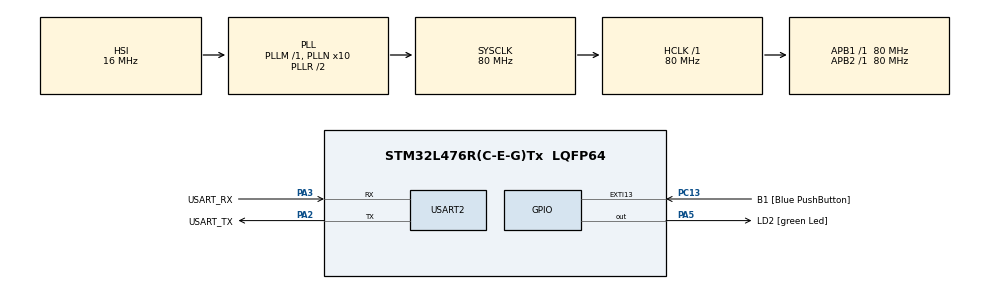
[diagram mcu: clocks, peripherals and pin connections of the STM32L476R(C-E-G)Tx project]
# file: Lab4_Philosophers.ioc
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FREERTOS.BinarySemaphores01=uartPrintSemaphore,Dynamic,NULL,Available;forkSemaphore,Dynamic,NULL,Available
FREERTOS.Tasks01=defaultTask,24,128,StartDefaultTask,Default,NULL,Dynamic,NULL,NULL;printUartTask,8,128,StartTask02,Default,NULL,Dynamic,NULL,NULL;philosopherTask,8,128,StartTask03,Default,NULL,Dynamic,NULL,NULL
FREERTOS.configTOTAL_HEAP_SIZE=65536
FREERTOS.configUSE_NEWLIB_REENTRANT=1
IWDG.Prescaler=IWDG_PRESCALER_64
IWDG.Reload=999
Mcu.Family=STM32L4
Mcu.Name=STM32L476R(C-E-G)Tx
Mcu.Package=LQFP64
NVIC.PriorityGroup=NVIC_PRIORITYGROUP_4
PA13\ (JTMS-SWDIO).GPIO_Label=TMS
PA13\ (JTMS-SWDIO).Mode=Serial_Wire
PA13\ (JTMS-SWDIO).Signal=SYS_JTMS-SWDIO
PA14\ (JTCK-SWCLK).GPIO_Label=TCK
PA14\ (JTCK-SWCLK).Mode=Serial_Wire
PA14\ (JTCK-SWCLK).Signal=SYS_JTCK-SWCLK
PA2.GPIO_Label=USART_TX
PA2.GPIO_Mode=GPIO_MODE_AF_PP
PA2.GPIO_PuPd=GPIO_NOPULL
PA2.GPIO_Speed=GPIO_SPEED_FREQ_VERY_HIGH
PA2.Mode=Asynchronous
PA2.Signal=USART2_TX
PA3.GPIO_Label=USART_RX
PA3.GPIO_Mode=GPIO_MODE_AF_PP
PA3.GPIO_PuPd=GPIO_NOPULL
PA3.GPIO_Speed=GPIO_SPEED_FREQ_VERY_HIGH
PA3.Mode=Asynchronous
PA3.Signal=USART2_RX
PA5.GPIO_Label=LD2 [green Led]
PA5.GPIO_ModeDefaultOutputPP=GPIO_MODE_OUTPUT_PP
PA5.GPIO_PuPd=GPIO_NOPULL
PA5.GPIO_Speed=GPIO_SPEED_FREQ_LOW
PA5.Signal=GPIO_Output
PB3\ (JTDO-TRACESWO).GPIO_Label=SWO
PB3\ (JTDO-TRACESWO).Signal=SYS_JTDO-SWO
PC13.GPIO_Label=B1 [Blue PushButton]
PC13.GPIO_ModeDefaultEXTI=GPIO_MODE_IT_FALLING
PC13.GPIO_PuPd=GPIO_NOPULL
PC13.Signal=GPXTI13
PC14-OSC32_IN\ (PC14).Mode=LSE-External-Oscillator
PC14-OSC32_IN\ (PC14).Signal=RCC_OSC32_IN
PC15-OSC32_OUT\ (PC15).Mode=LSE-External-Oscillator
PC15-OSC32_OUT\ (PC15).Signal=RCC_OSC32_OUT
PH0-OSC_IN\ (PH0).Signal=RCC_OSC_IN
PH1-OSC_OUT\ (PH1).Signal=RCC_OSC_OUT
ProjectManager.HeapSize=0x200
ProjectManager.StackSize=0x2000
ProjectManager.TargetToolchain=STM32CubeIDE
RCC.ADCFreq_Value=64000000
RCC.AHBFreq_Value=80000000
RCC.APB1Freq_Value=80000000
RCC.APB1TimFreq_Value=80000000
RCC.APB2Freq_Value=80000000
RCC.APB2TimFreq_Value=80000000
RCC.CortexFreq_Value=80000000
RCC.HCLKFreq_Value=80000000
RCC.HSE_VALUE=8000000
RCC.HSI_VALUE=16000000
RCC.MSI_VALUE=4000000
RCC.PLLN=10
RCC.PLLSourceVirtual=RCC_PLLSOURCE_HSI
RCC.PREFETCH_ENABLE=1
RCC.SYSCLKFreq_VALUE=80000000
RCC.SYSCLKSource=RCC_SYSCLKSOURCE_PLLCLK
RCC.USBFreq_Value=64000000
RCC.VCOOutputFreq_Value=160000000
USART2.VirtualMode-Asynchronous=VM_ASYNC
VP_FREERTOS_VS_CMSIS_V2.Mode=CMSIS_V2
VP_IWDG_VS_IWDG.Mode=IWDG_Activate
board=NUCLEO-L476RG

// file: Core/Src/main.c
/* USER CODE BEGIN Header */
/**
  ******************************************************************************
  * @file           : main.c
  * @brief          : Main program body
  ******************************************************************************
  * @attention
  *
  * Copyright (c) 2026 STMicroelectronics.
  * All rights reserved.
  *
  * This software is licensed under terms that can be found in the LICENSE file
  * in the root directory of this software component.
  * If no LICENSE file comes with this software, it is provided AS-IS.
  *
  ******************************************************************************
  */
/* USER CODE END Header */
#include "main.h"
#include "cmsis_os.h"

IWDG_HandleTypeDef hiwdg;

UART_HandleTypeDef huart2;

/* Definitions for defaultTask */

void SystemClock_Config(void);
static void MX_GPIO_Init(void);
static void MX_USART2_UART_Init(void);
static void MX_IWDG_Init(void);

/* USER CODE BEGIN PFP */
void App_RTOS_Init(void);
/* USER CODE END PFP */

/* USER CODE BEGIN 0 */
const char uartMsg[] = "Jeff Taylor - Lab 8\r\n CPET 461 - Philosophers with Watchdog\r\n";
/* USER CODE END 0 */

int main(void)
{

  /* MCU Configuration--------------------------------------------------------*/

  /* Reset of all peripherals, Initializes the Flash interface and the Systick. */
  HAL_Init();

  /* Configure the system clock */
  SystemClock_Config();

  /* Initialize all configured peripherals */
  MX_GPIO_Init();
  MX_USART2_UART_Init();
  MX_IWDG_Init();
  /* USER CODE BEGIN 2 */
  HAL_UART_Transmit(&huart2, (uint8_t*)uartMsg, sizeof(uartMsg) - 1, HAL_MAX_DELAY); // print UART message BEFORE rtos starts
  /* USER CODE END 2 */

  /* Init scheduler */
  osKernelInitialize();

  /* Create the semaphores(s) */
  /* creation of uartPrintSemaphore */

  /* creation of forkSemaphore */

  /* USER CODE BEGIN RTOS_EVENTS */
  /* add events, ... */
  App_RTOS_Init();
  /* USER CODE END RTOS_EVENTS */

  /* Start scheduler */
  osKernelStart();

  /* We should never get here as control is now taken by the scheduler */

  /* Infinite loop */
  while (1)
  {

  }
}

void SystemClock_Config(void)
{
  RCC_OscInitTypeDef RCC_OscInitStruct = {0};
  RCC_ClkInitTypeDef RCC_ClkInitStruct = {0};

  /** Configure the main internal regulator output voltage
  */
  if (HAL_PWREx_ControlVoltageScaling(PWR_REGULATOR_VOLTAGE_SCALE1) != HAL_OK)
  {
    Error_Handler();
  }

  /** Initializes the RCC Oscillators according to the specified parameters
  * in the RCC_OscInitTypeDef structure.
  */
  RCC_OscInitStruct.OscillatorType = RCC_OSCILLATORTYPE_HSI|RCC_OSCILLATORTYPE_LSI;
  RCC_OscInitStruct.HSIState = RCC_HSI_ON;
  RCC_OscInitStruct.HSICalibrationValue = RCC_HSICALIBRATION_DEFAULT;
  RCC_OscInitStruct.LSIState = RCC_LSI_ON;
  RCC_OscInitStruct.PLL.PLLState = RCC_PLL_ON;
  RCC_OscInitStruct.PLL.PLLSource = RCC_PLLSOURCE_HSI;
  RCC_OscInitStruct.PLL.PLLM = 1;
  RCC_OscInitStruct.PLL.PLLN = 10;
  RCC_OscInitStruct.PLL.PLLP = RCC_PLLP_DIV7;
  RCC_OscInitStruct.PLL.PLLQ = RCC_PLLQ_DIV2;
  RCC_OscInitStruct.PLL.PLLR = RCC_PLLR_DIV2;
  if (HAL_RCC_OscConfig(&RCC_OscInitStruct) != HAL_OK)
  {
    Error_Handler();
  }

  /** Initializes the CPU, AHB and APB buses clocks
  */
  RCC_ClkInitStruct.ClockType = RCC_CLOCKTYPE_HCLK|RCC_CLOCKTYPE_SYSCLK
                              |RCC_CLOCKTYPE_PCLK1|RCC_CLOCKTYPE_PCLK2;
  RCC_ClkInitStruct.SYSCLKSource = RCC_SYSCLKSOURCE_PLLCLK;
  RCC_ClkInitStruct.AHBCLKDivider = RCC_SYSCLK_DIV1;
  RCC_ClkInitStruct.APB1CLKDivider = RCC_HCLK_DIV1;
  RCC_ClkInitStruct.APB2CLKDivider = RCC_HCLK_DIV1;

  if (HAL_RCC_ClockConfig(&RCC_ClkInitStruct, FLASH_LATENCY_4) != HAL_OK)
  {
    Error_Handler();
  }
}

static void MX_IWDG_Init(void)
{

  hiwdg.Instance = IWDG;
  hiwdg.Init.Prescaler = IWDG_PRESCALER_64;
  hiwdg.Init.Window = 4095;
  hiwdg.Init.Reload = 999;
  if (HAL_IWDG_Init(&hiwdg) != HAL_OK)
  {
    Error_Handler();
  }

}

static void MX_USART2_UART_Init(void)
{

  huart2.Instance = USART2;
  huart2.Init.BaudRate = 115200;
  huart2.Init.WordLength = UART_WORDLENGTH_8B;
  huart2.Init.StopBits = UART_STOPBITS_1;
  huart2.Init.Parity = UART_PARITY_NONE;
  huart2.Init.Mode = UART_MODE_TX_RX;
  huart2.Init.HwFlowCtl = UART_HWCONTROL_NONE;
  huart2.Init.OverSampling = UART_OVERSAMPLING_16;
  huart2.Init.OneBitSampling = UART_ONE_BIT_SAMPLE_DISABLE;
  huart2.AdvancedInit.AdvFeatureInit = UART_ADVFEATURE_NO_INIT;
  if (HAL_UART_Init(&huart2) != HAL_OK)
  {
    Error_Handler();
  }

}

static void MX_GPIO_Init(void)
{
  GPIO_InitTypeDef GPIO_InitStruct = {0};

  /* GPIO Ports Clock Enable */
  __HAL_RCC_GPIOC_CLK_ENABLE();
  __HAL_RCC_GPIOH_CLK_ENABLE();
  __HAL_RCC_GPIOA_CLK_ENABLE();
  __HAL_RCC_GPIOB_CLK_ENABLE();

  /*Configure GPIO pin Output Level */
  HAL_GPIO_WritePin(LD2_GPIO_Port, LD2_Pin, GPIO_PIN_RESET);

  /*Configure GPIO pin : B1_Pin */
  GPIO_InitStruct.Pin = B1_Pin;
  GPIO_InitStruct.Mode = GPIO_MODE_IT_FALLING;
  GPIO_InitStruct.Pull = GPIO_NOPULL;
  HAL_GPIO_Init(B1_GPIO_Port, &GPIO_InitStruct);

  /*Configure GPIO pin : LD2_Pin */
  GPIO_InitStruct.Pin = LD2_Pin;
  GPIO_InitStruct.Mode = GPIO_MODE_OUTPUT_PP;
  GPIO_InitStruct.Pull = GPIO_NOPULL;
  GPIO_InitStruct.Speed = GPIO_SPEED_FREQ_LOW;
  HAL_GPIO_Init(LD2_GPIO_Port, &GPIO_InitStruct);

}

void StartDefaultTask(void *argument)
{
  for(;;)
  {
    osDelay(1);
  }
}

void StartTask02(void *argument)
{
  for(;;)
  {
    osDelay(1);
  }
}

void StartTask03(void *argument)
{
  for(;;)
  {
    osDelay(1);
  }
}

void Error_Handler(void)
{
  __disable_irq();
  while (1)
  {
  }
}

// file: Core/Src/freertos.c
/* USER CODE BEGIN Header */
/**
  ******************************************************************************
  * File Name          : freertos.c
  * Description        : Code for freertos applications
  ******************************************************************************
  * @attention
  *
  * Copyright (c) 2026 STMicroelectronics.
  * All rights reserved.
  *
  * This software is licensed under terms that can be found in the LICENSE file
  * in the root directory of this software component.
  * If no LICENSE file comes with this software, it is provided AS-IS.
  *
  ******************************************************************************
  */
/* USER CODE END Header */

#include "FreeRTOS.h"
#include "task.h"
#include "main.h"

/* USER CODE BEGIN Includes */
#include "cmsis_os.h"
#include "print.h"
#include <stdlib.h>
#include <stdbool.h>
/* USER CODE END Includes */

/* USER CODE BEGIN PD */
#define NumPHIL 8
#define ALL_ALIVE 0xFF
const osThreadAttr_t defaultAttr = {
    .name       = "defaultTask",
    .stack_size = 1024 * 4,    // bytes (2 KB)
    .priority   = osPriorityNormal
};
const osThreadAttr_t philAttr = {
    .name       = "Philosopher",
    .stack_size = 1024 * 4,   // bytes (4 KB)
    .priority   = osPriorityLow
};
osSemaphoreId_t forkSemaphoreHandle[NumPHIL];
const osSemaphoreAttr_t forkSemaphore_attributes = {
		.name = "forkSemaphore"
};
const osThreadAttr_t watchdogAttr = {
    .name = "Watchdog",
    .stack_size = 1024 * 4,
    .priority = osPriorityHigh
};
const osEventFlagsId_t philosophersHeartbeatHandle;
static osSemaphoreId_t heartbeatSemaphoreHandle;
/* USER CODE END PD */

/* USER CODE BEGIN Variables */
typedef struct {
	bool inUse;
} fork_t;

static fork_t forks[NumPHIL];
static uint32_t lastKickTick[NumPHIL];
static int PhilosopherNum[NumPHIL];

extern IWDG_HandleTypeDef hiwdg; // this comes from main as it's initialized via the ioc
/* USER CODE END Variables */

/* USER CODE BEGIN FunctionPrototypes */
void App_RTOS_Init(void);

static void startDefaultTask(void *argument);
static void PhilosopherTask(void *argument);
static void WatchdogTask(void *argument);

static bool getFork(int forkIndex);
static void putFork(int forkIndex);

static void PhilosopherHeartbeat(int id);
/* USER CODE END FunctionPrototypes */

/* USER CODE BEGIN Application */
void App_RTOS_Init(void){
	Print_Init();

	// Start Default Task - Print RTOS initialized, then close
	osThreadNew(startDefaultTask, NULL, &defaultAttr);

	// Make 8 forks for the 8 philosophers
	for(int i = 0; i < NumPHIL; i++){
		forkSemaphoreHandle[i] = osSemaphoreNew(1, 1, NULL);
	}

	// Make 8 Philosoper's (tasks)
	heartbeatSemaphoreHandle = osSemaphoreNew(1, 1, NULL);

	for(int i = 0; i < NumPHIL; i++){
	    forks[i].inUse = false;
	    lastKickTick[i] = osKernelGetTickCount();
	    PhilosopherNum[i] = i;
	    osThreadNew(PhilosopherTask, &PhilosopherNum[i], &philAttr);
	}

	osThreadNew(WatchdogTask, NULL, &watchdogAttr);
}

static void startDefaultTask(void *argument){
	//Print_Line("RTOS Initialized");
	osThreadExit();
}

static void PhilosopherTask(void *argument)
{

    int id = *(int*)argument; // Pull Philosopher ID from arbitrary argument
	srand(id); // SEED Rand() with Philosopher ID - when removed, every philosopher has the same delays. This avoids the RAND() bug

	int mask = (1 << id);
    int desiredLeftFork  = id;
    int desiredRightFork = (id + NumPHIL - 1) % NumPHIL;

    bool gotLeft  = false;
    bool gotRight = false;

    int ranNum;
    int ranMAX = 4001;

    while (1)
    {
    	osEventFlagSet(philosophersHeartbeatHandle, mask);
        Print_Line("Philosopher %d - Thinking...", id);
        ranNum = (rand() % ranMAX) + 1000;
        osDelay(ranNum);

        Print_Line("Philosopher %d - Hungry...", id);
        while (!(gotLeft && gotRight))
        {
        	osEventFlagSet(philosophersHeartbeatHandle, mask);

            gotLeft = false;
            gotRight = false;

            gotLeft = getFork(desiredLeftFork);
            gotRight = getFork(desiredRightFork);

            if (gotLeft && !gotRight) {
                putFork(desiredLeftFork);
                gotLeft = false;
            }

            if (gotRight && !gotLeft) {
                putFork(desiredRightFork);
                gotRight = false;
            }

            osDelay(10);
        }

        Print_Line("Philosopher %d - Eating...", id);
        ranNum = (rand() % ranMAX) + 1000;
        osDelay(ranNum);
    	osEventFlagSet(philosophersHeartbeatHandle, mask);

        putFork(desiredLeftFork);
        putFork(desiredRightFork);
    }

    // Debug Section
    //Print_Line("Philosopher #: %d | Desired LF : %d | Desired Right Fork : %d",
    //           id, desiredLeftFork, desiredRightFork);
    //osThreadExit();
}

static void WatchdogTask(void *argument)
{
    const uint32_t philosopherTimeoutMs = 2000; // when a philosopher is declared dead - 2s for a failure, 5s for a non failure
    const uint32_t watchdogCheckPeriodMs = 500; // how frequently the watchdog checks

    while(1)
    {

    	int set = osEventFlagGet(philosophersHeartbeatHandle);

    	if(set != ALL_ALIVE){
    		Print_Line("Not all philosophers alive, letting watchdog reset CPU");
    		while(1){
    			// reset watchdog
    		}
    	}
    	else{
    		Print_Line("All philosophers alive. Kicking watchdog.");
    		// reset watchdog timer

    	}

        osDelay(watchdogCheckPeriodMs);
    }
}

static bool getFork(int forkIndex){

    if(osSemaphoreAcquire(forkSemaphoreHandle[forkIndex], HAL_MAX_DELAY) == osOK) {
        if(forks[forkIndex].inUse == false) {
            forks[forkIndex].inUse = true;
            osSemaphoreRelease(forkSemaphoreHandle[forkIndex]);
            return true;
        }
        osSemaphoreRelease(forkSemaphoreHandle[forkIndex]);
    }
    return false;
}

static void putFork(int forkIndex){
	if(osSemaphoreAcquire(forkSemaphoreHandle[forkIndex], HAL_MAX_DELAY) == osOK){
		forks[forkIndex].inUse = false;
		osSemaphoreRelease(forkSemaphoreHandle[forkIndex]);
	}
}

//static void PhilosopherHeartbeat(int id){
//    if(osSemaphoreAcquire(heartbeatSemaphoreHandle, HAL_MAX_DELAY) == osOK){
//        lastKickTick[id] = osKernelGetTickCount();
//        osSemaphoreRelease(heartbeatSemaphoreHandle);
//    }
//}
/* USER CODE END Application */
